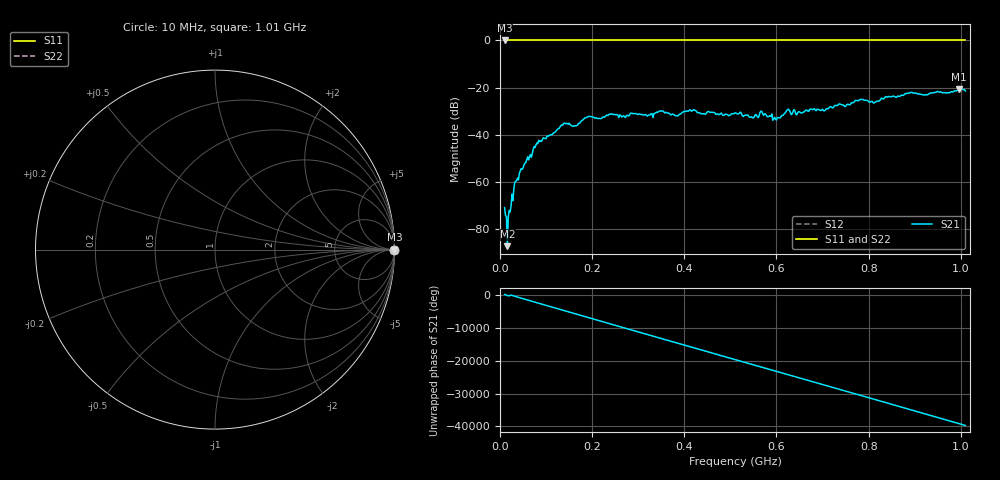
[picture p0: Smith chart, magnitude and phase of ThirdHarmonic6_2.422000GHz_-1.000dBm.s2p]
! 8/17/2025 4:08:21 AM
! C:\ANRITSUVNA\TEMP\TEMP.S2P
! CHANNEL.1
! TR.MEASUREMENT
! RAW.DATA
! RF.CORRECTION.OFF
! AVERAGING.OFF
! IF.BANDWIDTH: 5KHZ
! SWEEPTYPE:  FREQ.SWEEP(Linear)
! Reference Plane Port Info
! PORT:  PORT1  PORT2
! DISTANCE:  0  m  0  m
! TIME:  0  s  0  s
! PHASE.OFFSET:  0  deg.  0  deg.
! LOSS:  0  dB  0  dB
! REF.LOSS:  0  dB  0  dB
! REF.FREQ:  0  Hz  0  Hz
! Power Info
! POWER:  -20  dBm  -20  dBm
! EFF.POWER:  -20  dBm  -20  dBm
! SOURCE.ATTEN:  0  dB  0  dB
! TEST.ATTEN:  0  dB  0  dB
# GHZ S RI R 50.0
! FREQ.GHZ  S11RE  S11IM  S21RE  S21IM  S12RE  S12IM  S22RE  S22IM
!; PortSelection: Port_12
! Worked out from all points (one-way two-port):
!   501 points, 10 MHz to 1.01 GHz, reference 50 ohm
!   highest |S21| = -20.55 dB at 996 MHz (marker M1); lowest = -87.2 dB at 16 MHz (marker M2)
!   lowest |S11| = 0.0 dB at 10 MHz (marker M3)
!   |S11| at or under -10 dB: nowhere
!   |S22| runs from 0.0 to 0.0 dB; largest |S21 - S12| = 1.1
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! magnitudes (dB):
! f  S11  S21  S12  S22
! 10 MHz  0.0  -70.8  0.0  0.0
! 16 MHz  0.0  -87.2  0.0  0.0
! 20 MHz  0.0  -72.0  0.0  0.0
! 34 MHz  0.0  -59.7  0.0  0.0
! 76 MHz  0.0  -45.4  0.0  0.0
! 136 MHz  0.0  -35.9  0.0  0.0
! 164 MHz  0.0  -36.1  0.0  0.0
! 178 MHz  0.0  -33.9  0.0  0.0
! 194 MHz  0.0  -32.2  0.0  0.0
! 344 MHz  0.0  -30.2  0.0  0.0
! 384 MHz  0.0  -32.0  0.0  0.0
! 416 MHz  0.0  -30.0  0.0  0.0
! 510 MHz  0.0  -30.7  0.0  0.0
! 546 MHz  0.0  -32.3  0.0  0.0
! 568 MHz  0.0  -30.1  0.0  0.0
! 596 MHz  0.0  -32.6  0.0  0.0
! 624 MHz  0.0  -29.4  0.0  0.0
! 678 MHz  0.0  -29.3  0.0  0.0
! 814 MHz  0.0  -26.1  0.0  0.0
! 844 MHz  0.0  -23.7  0.0  0.0
! 996 MHz  0.0  -20.6  0.0  0.0
! 1.01 GHz  0.0  -21.4  0.0  0.0
